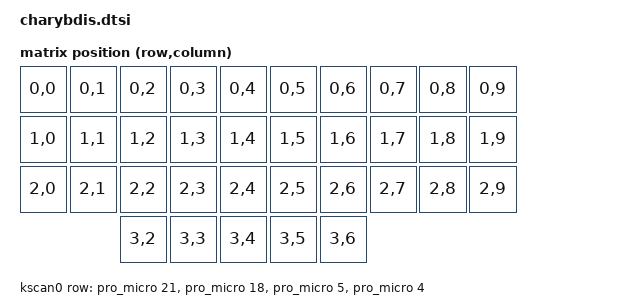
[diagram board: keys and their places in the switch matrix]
#include <dt-bindings/zmk/matrix_transform.h>
#include <dt-bindings/input/input-event-codes.h>
#include <dt-bindings/zmk/input_transform.h>
#include <input/processors.dtsi>

/ {
    chosen {
        zmk,kscan = &kscan0;
        zmk,matrix_transform = &five_column_transform;
        zmk,battery = &vbatt;
    };

    vbatt: vbatt {
	    compatible = "zmk,battery-nrf-vddh";
    };

    five_column_transform: keymap_transform_0 {
        compatible = "zmk,matrix-transform";
        columns = <10>;
        rows = <4>;

        map = <
	RC(0,0) RC(0,1) RC(0,2) RC(0,3) RC(0,4)  RC(0,5) RC(0,6) RC(0,7) RC(0,8) RC(0,9)
	RC(1,0) RC(1,1) RC(1,2) RC(1,3) RC(1,4)  RC(1,5) RC(1,6) RC(1,7) RC(1,8) RC(1,9)
	RC(2,0) RC(2,1) RC(2,2) RC(2,3) RC(2,4)  RC(2,5) RC(2,6) RC(2,7) RC(2,8) RC(2,9)
					RC(3,2) RC(3,3) RC(3,4)  RC(3,5) RC(3,6)
        >;
    };

    kscan0: kscan {
        compatible = "zmk,kscan-gpio-matrix";

        diode-direction = "col2row";
		row-gpios
			= <&pro_micro 21 (GPIO_ACTIVE_HIGH | GPIO_PULL_DOWN)>
            , <&pro_micro 18 (GPIO_ACTIVE_HIGH | GPIO_PULL_DOWN)>
			, <&pro_micro 5 (GPIO_ACTIVE_HIGH | GPIO_PULL_DOWN)>
			, <&pro_micro 4 (GPIO_ACTIVE_HIGH | GPIO_PULL_DOWN)>
            ;
        wakeup-source;
    };

    // ZMK 공식 split pointing 패턴
    // peripheral(right)이 trackball_split에 실제 device를 연결하면
    // split BLE를 통해 central(dongle)의 trackball_listener로 이벤트가 forwarding된다.
    // listener는 기본 disabled 상태이며 central overlay에서 활성화.
    split_inputs {
        #address-cells = <1>;
        #size-cells = <0>;

        trackball_split: trackball_split@0 {
            compatible = "zmk,input-split";
            reg = <0>;
            // peripheral은 device 연결하면서 status=okay,
            // central(dongle)도 GATT char 수신을 위해 status=okay 활성화 필요.
            // left처럼 둘 다 아닌 빌드는 disabled 상태라 service.c iteration에서 제외됨.
            status = "disabled";
        };
    };

    trackball_listener: trackball_listener {
        compatible = "zmk,input-listener";
        status = "disabled";
        device = <&trackball_split>;

        scroller {
            layers = <7>;  // SCR 레이어
            // 매퍼가 X→HWHEEL, Y→WHEEL로 바꾼 뒤 vertical만 부호 반전 (자연 스크롤)
            input-processors =
                <&zip_x_scaler 1 25>,
                <&zip_y_scaler 1 30>,
                <&zip_xy_to_scroll_mapper>,
                <&zip_scroll_transform INPUT_TRANSFORM_X_INVERT>;
        };

        sniper {
            layers = <8>;  // SNI 레이어
            input-processors = <&zip_xy_scaler 1 3>;  // 1/3 속도
        };
    };
};
